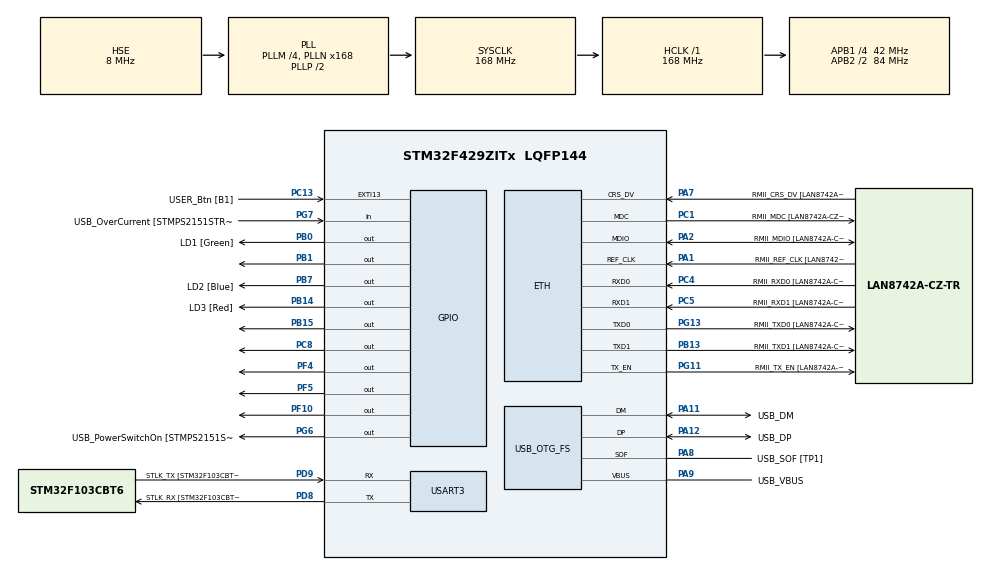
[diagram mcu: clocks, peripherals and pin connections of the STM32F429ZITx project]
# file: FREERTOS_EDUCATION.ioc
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ETH.MediaInterface=HAL_ETH_RMII_MODE
ETH.PHY_Name=LAN8742A_PHY_ADDRESS
ETH.PHY_Value=0
ETH.PhyAddress=0
FREERTOS.INCLUDE_vTaskDelayUntil=1
FREERTOS.Tasks01=defaultTask,0,128,StartDefaultTask,Default,NULL,Dynamic,NULL,NULL;myTask01,-3,128,StartTask01,Default,NULL,Dynamic,NULL,NULL;myTask02,-3,128,StartTask02,Default,NULL,Dynamic,NULL,NULL;myTask03,-3,128,StartTask03,Default,NULL,Dynamic,NULL,NULL;myTask04,-3,128,StartTask04,Default,NULL,Dynamic,NULL,NULL
FREERTOS.configUSE_APPLICATION_TASK_TAG=1
FREERTOS.configUSE_IDLE_HOOK=1
FREERTOS.configUSE_NEWLIB_REENTRANT=1
Mcu.Family=STM32F4
Mcu.Name=STM32F429ZITx
Mcu.Package=LQFP144
NVIC.PriorityGroup=NVIC_PRIORITYGROUP_4
PA1.GPIO_Label=RMII_REF_CLK [LAN8742A-CZ-TR_REFCLK0]
PA1.Mode=RMII
PA1.Signal=ETH_REF_CLK
PA10.GPIO_Label=USB_ID
PA10.Signal=USB_OTG_FS_ID
PA11.GPIO_Label=USB_DM
PA11.Mode=Device_Only
PA11.Signal=USB_OTG_FS_DM
PA12.GPIO_Label=USB_DP
PA12.Mode=Device_Only
PA12.Signal=USB_OTG_FS_DP
PA13.GPIO_Label=TMS
PA13.Mode=Serial_Wire
PA13.Signal=SYS_JTMS-SWDIO
PA14.GPIO_Label=TCK
PA14.Mode=Serial_Wire
PA14.Signal=SYS_JTCK-SWCLK
PA2.GPIO_Label=RMII_MDIO [LAN8742A-CZ-TR_MDIO]
PA2.Mode=RMII
PA2.Signal=ETH_MDIO
PA7.GPIO_Label=RMII_CRS_DV [LAN8742A-CZ-TR_CRS_DV]
PA7.Mode=RMII
PA7.Signal=ETH_CRS_DV
PA8.GPIO_Label=USB_SOF [TP1]
PA8.Mode=Activate_SOF_FS
PA8.Signal=USB_OTG_FS_SOF
PA9.GPIO_Label=USB_VBUS
PA9.Mode=Activate_VBUS
PA9.Signal=USB_OTG_FS_VBUS
PB0.GPIO_Label=LD1 [Green]
PB0.Signal=GPIO_Output
PB1.Signal=GPIO_Output
PB13.GPIO_Label=RMII_TXD1 [LAN8742A-CZ-TR_TXD1]
PB13.Mode=RMII
PB13.Signal=ETH_TXD1
PB14.GPIO_Label=LD3 [Red]
PB14.Signal=GPIO_Output
PB15.Signal=GPIO_Output
PB7.GPIO_Label=LD2 [Blue]
PB7.Signal=GPIO_Output
PC1.GPIO_Label=RMII_MDC [LAN8742A-CZ-TR_MDC]
PC1.Mode=RMII
PC1.Signal=ETH_MDC
PC13.GPIO_Label=USER_Btn [B1]
PC13.Signal=GPXTI13
PC14/OSC32_IN.Mode=LSE-External-Oscillator
PC14/OSC32_IN.Signal=RCC_OSC32_IN
PC15/OSC32_OUT.Mode=LSE-External-Oscillator
PC15/OSC32_OUT.Signal=RCC_OSC32_OUT
PC4.GPIO_Label=RMII_RXD0 [LAN8742A-CZ-TR_RXD0]
PC4.Mode=RMII
PC4.Signal=ETH_RXD0
PC5.GPIO_Label=RMII_RXD1 [LAN8742A-CZ-TR_RXD1]
PC5.Mode=RMII
PC5.Signal=ETH_RXD1
PC8.Signal=GPIO_Output
PD8.GPIO_Label=STLK_RX [STM32F103CBT6_PA3]
PD8.Mode=Asynchronous
PD8.Signal=USART3_TX
PD9.GPIO_Label=STLK_TX [STM32F103CBT6_PA2]
PD9.Mode=Asynchronous
PD9.Signal=USART3_RX
PF10.Signal=GPIO_Output
PF4.Signal=GPIO_Output
PF5.Signal=GPIO_Output
PG11.GPIO_Label=RMII_TX_EN [LAN8742A-CZ-TR_TXEN]
PG11.Mode=RMII
PG11.Signal=ETH_TX_EN
PG13.GPIO_Label=RMII_TXD0 [LAN8742A-CZ-TR_TXD0]
PG13.Mode=RMII
PG13.Signal=ETH_TXD0
PG6.GPIO_Label=USB_PowerSwitchOn [STMPS2151STR_EN]
PG6.Signal=GPIO_Output
PG7.GPIO_Label=USB_OverCurrent [STMPS2151STR_FAULT]
PG7.Signal=GPIO_Input
PH0/OSC_IN.GPIO_Label=MCO [STM32F103CBT6_PA8]
PH0/OSC_IN.Mode=HSE-External-Clock-Source
PH0/OSC_IN.Signal=RCC_OSC_IN
PH1/OSC_OUT.Mode=HSE-External-Clock-Source
PH1/OSC_OUT.Signal=RCC_OSC_OUT
ProjectManager.HeapSize=0x200
ProjectManager.StackSize=0x400
ProjectManager.TargetToolchain=STM32CubeIDE
RCC.48MHZClocksFreq_Value=48000000
RCC.AHBFreq_Value=168000000
RCC.APB1CLKDivider=RCC_HCLK_DIV4
RCC.APB1Freq_Value=42000000
RCC.APB1TimFreq_Value=84000000
RCC.APB2CLKDivider=RCC_HCLK_DIV2
RCC.APB2Freq_Value=84000000
RCC.APB2TimFreq_Value=168000000
RCC.CortexFreq_Value=168000000
RCC.HCLKFreq_Value=168000000
RCC.HSE_VALUE=8000000
RCC.HSI_VALUE=16000000
RCC.PLLM=4
RCC.PLLMUL=RCC_PLL_MUL9
RCC.PLLN=168
RCC.PLLQ=7
RCC.PRESCALERUSB=RCC_USBCLKSOURCE_PLL_DIV1_5
RCC.SYSCLKFreq_VALUE=168000000
RCC.SYSCLKSource=RCC_SYSCLKSOURCE_PLLCLK
RCC.SYSCLKSourceVirtual=RCC_SYSCLKSOURCE_PLLCLK
RCC.USBFreq_Value=48000000
RCC.VCOOutputFreq_Value=336000000
USART3.VirtualMode=VM_ASYNC
USB_OTG_FS.VirtualMode=Device_Only
VP_FREERTOS_VS_CMSIS_V1.Mode=CMSIS_V1
board=NUCLEO-F429ZI

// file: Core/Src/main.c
/* USER CODE BEGIN Header */
/**
  ******************************************************************************
  * @file           : main.c
  * @brief          : Main program body
  ******************************************************************************
  * @attention
  *
  * Copyright (c) 2024 STMicroelectronics.
  * All rights reserved.
  *
  * This software is licensed under terms that can be found in the LICENSE file
  * in the root directory of this software component.
  * If no LICENSE file comes with this software, it is provided AS-IS.
  *
  ******************************************************************************
  */
/* USER CODE END Header */
#include "main.h"
#include "string.h"
#include "cmsis_os.h"

/* USER CODE BEGIN Includes */
#include <stdbool.h>
#include "task.h"
/* USER CODE END Includes */

ETH_TxPacketConfig TxConfig;
ETH_DMADescTypeDef  DMARxDscrTab[ETH_RX_DESC_CNT]; /* Ethernet Rx DMA Descriptors */
ETH_DMADescTypeDef  DMATxDscrTab[ETH_TX_DESC_CNT]; /* Ethernet Tx DMA Descriptors */

ETH_HandleTypeDef heth;

UART_HandleTypeDef huart3;

PCD_HandleTypeDef hpcd_USB_OTG_FS;

osThreadId defaultTaskHandle;
osThreadId myTask01Handle;
osThreadId myTask02Handle;
osThreadId myTask03Handle;
osThreadId myTask04Handle;
/* USER CODE BEGIN PV */
#define TASK_DEBUG
/* USER CODE END PV */

void SystemClock_Config(void);
static void MX_GPIO_Init(void);
static void MX_ETH_Init(void);
static void MX_USART3_UART_Init(void);
static void MX_USB_OTG_FS_PCD_Init(void);
void StartDefaultTask(void const * argument);
void StartTask01(void const * argument);
void StartTask02(void const * argument);
void StartTask03(void const * argument);
void StartTask04(void const * argument);

int main(void)
{

  /* MCU Configuration--------------------------------------------------------*/

  /* Reset of all peripherals, Initializes the Flash interface and the Systick. */
  HAL_Init();

  /* Configure the system clock */
  SystemClock_Config();

  /* Initialize all configured peripherals */
  MX_GPIO_Init();
  MX_ETH_Init();
  MX_USART3_UART_Init();
  MX_USB_OTG_FS_PCD_Init();

  /* Create the thread(s) */
  /* definition and creation of defaultTask */
  osThreadDef(defaultTask, StartDefaultTask, osPriorityNormal, 0, 128);
  defaultTaskHandle = osThreadCreate(osThread(defaultTask), NULL);

  /* definition and creation of myTask01 */
  osThreadDef(myTask01, StartTask01, osPriorityIdle, 0, 128);
  myTask01Handle = osThreadCreate(osThread(myTask01), NULL);

  /* definition and creation of myTask02 */
  osThreadDef(myTask02, StartTask02, osPriorityIdle, 0, 128);
  myTask02Handle = osThreadCreate(osThread(myTask02), NULL);

  /* definition and creation of myTask03 */
  osThreadDef(myTask03, StartTask03, osPriorityIdle, 0, 128);
  myTask03Handle = osThreadCreate(osThread(myTask03), NULL);

  /* definition and creation of myTask04 */
  osThreadDef(myTask04, StartTask04, osPriorityIdle, 0, 128);
  myTask04Handle = osThreadCreate(osThread(myTask04), NULL);

  /* Start scheduler */
  osKernelStart();

  /* We should never get here as control is now taken by the scheduler */
  /* Infinite loop */
  while (1)
  {

  }
}

void SystemClock_Config(void)
{
  RCC_OscInitTypeDef RCC_OscInitStruct = {0};
  RCC_ClkInitTypeDef RCC_ClkInitStruct = {0};

  /** Configure the main internal regulator output voltage
  */
  __HAL_RCC_PWR_CLK_ENABLE();
  __HAL_PWR_VOLTAGESCALING_CONFIG(PWR_REGULATOR_VOLTAGE_SCALE1);

  /** Initializes the RCC Oscillators according to the specified parameters
  * in the RCC_OscInitTypeDef structure.
  */
  RCC_OscInitStruct.OscillatorType = RCC_OSCILLATORTYPE_HSE;
  RCC_OscInitStruct.HSEState = RCC_HSE_BYPASS;
  RCC_OscInitStruct.PLL.PLLState = RCC_PLL_ON;
  RCC_OscInitStruct.PLL.PLLSource = RCC_PLLSOURCE_HSE;
  RCC_OscInitStruct.PLL.PLLM = 4;
  RCC_OscInitStruct.PLL.PLLN = 168;
  RCC_OscInitStruct.PLL.PLLP = RCC_PLLP_DIV2;
  RCC_OscInitStruct.PLL.PLLQ = 7;
  if (HAL_RCC_OscConfig(&RCC_OscInitStruct) != HAL_OK)
  {
    Error_Handler();
  }

  /** Initializes the CPU, AHB and APB buses clocks
  */
  RCC_ClkInitStruct.ClockType = RCC_CLOCKTYPE_HCLK|RCC_CLOCKTYPE_SYSCLK
                              |RCC_CLOCKTYPE_PCLK1|RCC_CLOCKTYPE_PCLK2;
  RCC_ClkInitStruct.SYSCLKSource = RCC_SYSCLKSOURCE_PLLCLK;
  RCC_ClkInitStruct.AHBCLKDivider = RCC_SYSCLK_DIV1;
  RCC_ClkInitStruct.APB1CLKDivider = RCC_HCLK_DIV4;
  RCC_ClkInitStruct.APB2CLKDivider = RCC_HCLK_DIV2;

  if (HAL_RCC_ClockConfig(&RCC_ClkInitStruct, FLASH_LATENCY_5) != HAL_OK)
  {
    Error_Handler();
  }
}

static void MX_ETH_Init(void)
{

   static uint8_t MACAddr[6];

  heth.Instance = ETH;
  MACAddr[0] = 0x00;
  MACAddr[1] = 0x80;
  MACAddr[2] = 0xE1;
  MACAddr[3] = 0x00;
  MACAddr[4] = 0x00;
  MACAddr[5] = 0x00;
  heth.Init.MACAddr = &MACAddr[0];
  heth.Init.MediaInterface = HAL_ETH_RMII_MODE;
  heth.Init.TxDesc = DMATxDscrTab;
  heth.Init.RxDesc = DMARxDscrTab;
  heth.Init.RxBuffLen = 1524;

  if (HAL_ETH_Init(&heth) != HAL_OK)
  {
    Error_Handler();
  }

  memset(&TxConfig, 0 , sizeof(ETH_TxPacketConfig));
  TxConfig.Attributes = ETH_TX_PACKETS_FEATURES_CSUM | ETH_TX_PACKETS_FEATURES_CRCPAD;
  TxConfig.ChecksumCtrl = ETH_CHECKSUM_IPHDR_PAYLOAD_INSERT_PHDR_CALC;
  TxConfig.CRCPadCtrl = ETH_CRC_PAD_INSERT;

}

static void MX_USART3_UART_Init(void)
{

  huart3.Instance = USART3;
  huart3.Init.BaudRate = 115200;
  huart3.Init.WordLength = UART_WORDLENGTH_8B;
  huart3.Init.StopBits = UART_STOPBITS_1;
  huart3.Init.Parity = UART_PARITY_NONE;
  huart3.Init.Mode = UART_MODE_TX_RX;
  huart3.Init.HwFlowCtl = UART_HWCONTROL_NONE;
  huart3.Init.OverSampling = UART_OVERSAMPLING_16;
  if (HAL_UART_Init(&huart3) != HAL_OK)
  {
    Error_Handler();
  }

}

static void MX_USB_OTG_FS_PCD_Init(void)
{

  hpcd_USB_OTG_FS.Instance = USB_OTG_FS;
  hpcd_USB_OTG_FS.Init.dev_endpoints = 4;
  hpcd_USB_OTG_FS.Init.speed = PCD_SPEED_FULL;
  hpcd_USB_OTG_FS.Init.dma_enable = DISABLE;
  hpcd_USB_OTG_FS.Init.phy_itface = PCD_PHY_EMBEDDED;
  hpcd_USB_OTG_FS.Init.Sof_enable = ENABLE;
  hpcd_USB_OTG_FS.Init.low_power_enable = DISABLE;
  hpcd_USB_OTG_FS.Init.lpm_enable = DISABLE;
  hpcd_USB_OTG_FS.Init.vbus_sensing_enable = ENABLE;
  hpcd_USB_OTG_FS.Init.use_dedicated_ep1 = DISABLE;
  if (HAL_PCD_Init(&hpcd_USB_OTG_FS) != HAL_OK)
  {
    Error_Handler();
  }

}

static void MX_GPIO_Init(void)
{
  GPIO_InitTypeDef GPIO_InitStruct = {0};

  /* GPIO Ports Clock Enable */
  __HAL_RCC_GPIOC_CLK_ENABLE();
  __HAL_RCC_GPIOF_CLK_ENABLE();
  __HAL_RCC_GPIOH_CLK_ENABLE();
  __HAL_RCC_GPIOA_CLK_ENABLE();
  __HAL_RCC_GPIOB_CLK_ENABLE();
  __HAL_RCC_GPIOD_CLK_ENABLE();
  __HAL_RCC_GPIOG_CLK_ENABLE();

  /*Configure GPIO pin Output Level */
  HAL_GPIO_WritePin(GPIOF, GPIO_PIN_4|GPIO_PIN_5|GPIO_PIN_10, GPIO_PIN_RESET);

  /*Configure GPIO pin Output Level */
  HAL_GPIO_WritePin(GPIOB, LD1_Pin|GPIO_PIN_1|LD3_Pin|GPIO_PIN_15
                          |LD2_Pin, GPIO_PIN_RESET);

  /*Configure GPIO pin Output Level */
  HAL_GPIO_WritePin(USB_PowerSwitchOn_GPIO_Port, USB_PowerSwitchOn_Pin, GPIO_PIN_RESET);

  /*Configure GPIO pin Output Level */
  HAL_GPIO_WritePin(GPIOC, GPIO_PIN_8, GPIO_PIN_RESET);

  /*Configure GPIO pin : USER_Btn_Pin */
  GPIO_InitStruct.Pin = USER_Btn_Pin;
  GPIO_InitStruct.Mode = GPIO_MODE_IT_RISING;
  GPIO_InitStruct.Pull = GPIO_NOPULL;
  HAL_GPIO_Init(USER_Btn_GPIO_Port, &GPIO_InitStruct);

  /*Configure GPIO pins : PF4 PF5 PF10 */
  GPIO_InitStruct.Pin = GPIO_PIN_4|GPIO_PIN_5|GPIO_PIN_10;
  GPIO_InitStruct.Mode = GPIO_MODE_OUTPUT_PP;
  GPIO_InitStruct.Pull = GPIO_NOPULL;
  GPIO_InitStruct.Speed = GPIO_SPEED_FREQ_LOW;
  HAL_GPIO_Init(GPIOF, &GPIO_InitStruct);

  /*Configure GPIO pins : LD1_Pin PB1 LD3_Pin PB15
                           LD2_Pin */
  GPIO_InitStruct.Pin = LD1_Pin|GPIO_PIN_1|LD3_Pin|GPIO_PIN_15
                          |LD2_Pin;
  GPIO_InitStruct.Mode = GPIO_MODE_OUTPUT_PP;
  GPIO_InitStruct.Pull = GPIO_NOPULL;
  GPIO_InitStruct.Speed = GPIO_SPEED_FREQ_LOW;
  HAL_GPIO_Init(GPIOB, &GPIO_InitStruct);

  /*Configure GPIO pin : USB_PowerSwitchOn_Pin */
  GPIO_InitStruct.Pin = USB_PowerSwitchOn_Pin;
  GPIO_InitStruct.Mode = GPIO_MODE_OUTPUT_PP;
  GPIO_InitStruct.Pull = GPIO_NOPULL;
  GPIO_InitStruct.Speed = GPIO_SPEED_FREQ_LOW;
  HAL_GPIO_Init(USB_PowerSwitchOn_GPIO_Port, &GPIO_InitStruct);

  /*Configure GPIO pin : USB_OverCurrent_Pin */
  GPIO_InitStruct.Pin = USB_OverCurrent_Pin;
  GPIO_InitStruct.Mode = GPIO_MODE_INPUT;
  GPIO_InitStruct.Pull = GPIO_NOPULL;
  HAL_GPIO_Init(USB_OverCurrent_GPIO_Port, &GPIO_InitStruct);

  /*Configure GPIO pin : PC8 */
  GPIO_InitStruct.Pin = GPIO_PIN_8;
  GPIO_InitStruct.Mode = GPIO_MODE_OUTPUT_PP;
  GPIO_InitStruct.Pull = GPIO_NOPULL;
  GPIO_InitStruct.Speed = GPIO_SPEED_FREQ_LOW;
  HAL_GPIO_Init(GPIOC, &GPIO_InitStruct);

}

/* USER CODE BEGIN 4 */
void TaskSwitchedIn(int tag)
{
#ifdef TASK_DEBUG
	switch (tag)
	{
	case 1:
		GPIOC->BSRR = GPIO_PIN_8;
	case 2:
		GPIOB->BSRR = GPIO_PIN_1;
		break;
	case 3:
		GPIOB->BSRR = GPIO_PIN_15;
		break;
	case 4:
		GPIOF->BSRR = GPIO_PIN_5;
		break;
	}
#endif // TASK_DEBUG
}
void TaskSwitchedOut(int tag)
{
#ifdef TASK_DEBUG
	switch (tag)
	{
	case 1:
		GPIOC->BSRR = (uint32_t)GPIO_PIN_8 << 16U;
	case 2:
		GPIOB->BSRR = (uint32_t)GPIO_PIN_1 << 16U;
		break;
	case 3:
		GPIOB->BSRR = (uint32_t)GPIO_PIN_15 << 16U;
		break;
	case 4:
		GPIOF->BSRR = (uint32_t)GPIO_PIN_5 << 16U;
		break;
	}
#endif // TASK_DEBUG
}
/* USER CODE END 4 */

void StartDefaultTask(void const * argument)
{
  for(;;)
  {
    osDelay(1);
  }
}

void StartTask01(void const * argument)
{
  /* USER CODE BEGIN StartTask01 */
#ifdef TASK_DEBUG
	vTaskSetApplicationTaskTag(NULL, (void*)1);
#endif // TASK_DEBUG

	TickType_t xLastWakeTime;
	xLastWakeTime = xTaskGetTickCount();
  /* Infinite loop */
  for(;;)
  {
	 vTaskDelayUntil(&xLastWakeTime, pdMS_TO_TICKS(10));
  }
  /* USER CODE END StartTask01 */
}

void StartTask02(void const * argument)
{
  /* USER CODE BEGIN StartTask02 */
#ifdef TASK_DEBUG
	vTaskSetApplicationTaskTag(NULL, (void*)2);
#endif // TASK_DEBUG

	TickType_t xLastWakeTime;
	xLastWakeTime = xTaskGetTickCount();
  /* Infinite loop */
  for(;;)
  {
	  vTaskDelayUntil(&xLastWakeTime, pdMS_TO_TICKS(25));
  }
  /* USER CODE END StartTask02 */
}

void StartTask03(void const * argument)
{
  /* USER CODE BEGIN StartTask03 */
#ifdef TASK_DEBUG
	vTaskSetApplicationTaskTag(NULL, (void*)3);
#endif // TASK_DEBUG

	TickType_t xLastWakeTime;
	xLastWakeTime = xTaskGetTickCount();
  /* Infinite loop */
  for(;;)
  {
	  vTaskDelayUntil(&xLastWakeTime, pdMS_TO_TICKS(60));
  }
  /* USER CODE END StartTask03 */
}

void StartTask04(void const * argument)
{
  /* USER CODE BEGIN StartTask04 */
#ifdef TASK_DEBUG
	vTaskSetApplicationTaskTag(NULL, (void*)4);
#endif // TASK_DEBUG

	TickType_t xLastWakeTime;
	xLastWakeTime = xTaskGetTickCount();
  /* Infinite loop */
  for(;;)
  {
	  vTaskDelayUntil(&xLastWakeTime, pdMS_TO_TICKS(2));
  }
  /* USER CODE END StartTask04 */
}

void Error_Handler(void)
{
  __disable_irq();
  while (1)
  {
  }
}

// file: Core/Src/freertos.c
/* USER CODE BEGIN Header */
/**
  ******************************************************************************
  * File Name          : freertos.c
  * Description        : Code for freertos applications
  ******************************************************************************
  * @attention
  *
  * Copyright (c) 2024 STMicroelectronics.
  * All rights reserved.
  *
  * This software is licensed under terms that can be found in the LICENSE file
  * in the root directory of this software component.
  * If no LICENSE file comes with this software, it is provided AS-IS.
  *
  ******************************************************************************
  */
/* USER CODE END Header */

#include "FreeRTOS.h"
#include "task.h"
#include "main.h"

/* GetIdleTaskMemory prototype (linked to static allocation support) */
void vApplicationGetIdleTaskMemory( StaticTask_t **ppxIdleTaskTCBBuffer, StackType_t **ppxIdleTaskStackBuffer, uint32_t *pulIdleTaskStackSize );

/* Hook prototypes */
void vApplicationIdleHook(void);

/* USER CODE BEGIN 2 */
__weak void vApplicationIdleHook( void )
{
   /* vApplicationIdleHook() will only be called if configUSE_IDLE_HOOK is set
   to 1 in FreeRTOSConfig.h. It will be called on each iteration of the idle
   task. It is essential that code added to this hook function never attempts
   to block in any way (for example, call xQueueReceive() with a block time
   specified, or call vTaskDelay()). If the application makes use of the
   vTaskDelete() API function (as this demo application does) then it is also
   important that vApplicationIdleHook() is permitted to return to its calling
   function, because it is the responsibility of the idle task to clean up
   memory allocated by the kernel to any task that has since been deleted. */
	GPIOF->BSRR = GPIO_PIN_10;
	__NOP();
	GPIOF->BSRR = (uint32_t)GPIO_PIN_10 << 16U;
}
/* USER CODE END 2 */

/* USER CODE BEGIN GET_IDLE_TASK_MEMORY */
static StaticTask_t xIdleTaskTCBBuffer;
static StackType_t xIdleStack[configMINIMAL_STACK_SIZE];

void vApplicationGetIdleTaskMemory( StaticTask_t **ppxIdleTaskTCBBuffer, StackType_t **ppxIdleTaskStackBuffer, uint32_t *pulIdleTaskStackSize )
{
  *ppxIdleTaskTCBBuffer = &xIdleTaskTCBBuffer;
  *ppxIdleTaskStackBuffer = &xIdleStack[0];
  *pulIdleTaskStackSize = configMINIMAL_STACK_SIZE;
  /* place for user code */
}
/* USER CODE END GET_IDLE_TASK_MEMORY */
